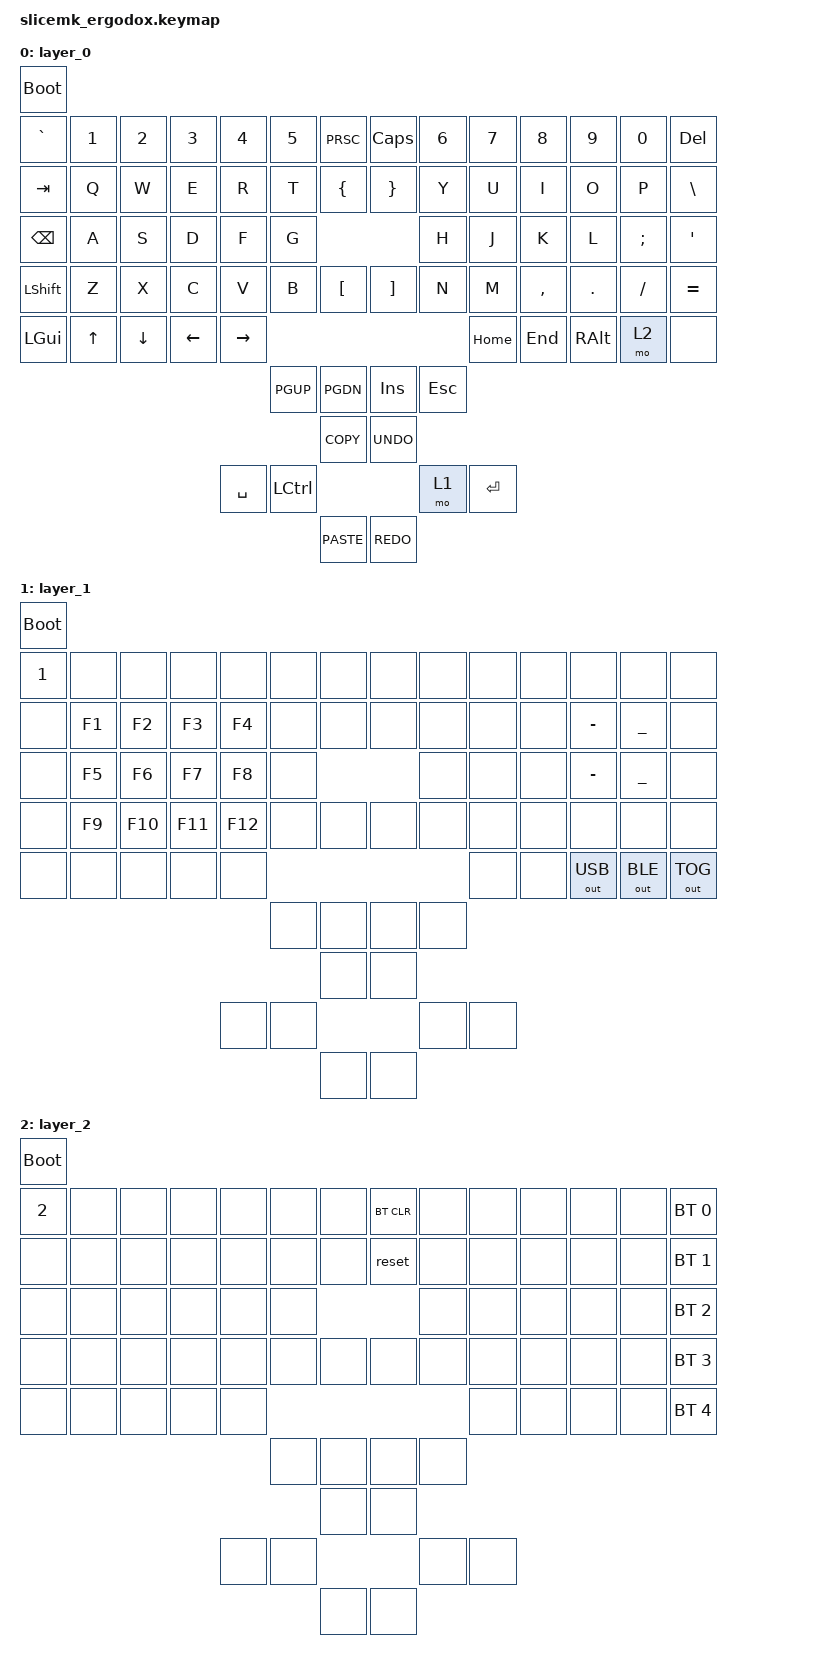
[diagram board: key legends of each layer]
#include <behaviors.dtsi>
#include <dt-bindings/zmk/bt.h>
#include <dt-bindings/zmk/keys.h>
#include <dt-bindings/zmk/outputs.h>

/ {
        keymap {
                compatible = "zmk,keymap";

                layer_0 {
                        bindings = <
    &bootloader
    &kp GRAVE  &kp N1     &kp N2     &kp N3     &kp N4     &kp N5     &kp PRSC   &kp CAPS   &kp N6     &kp N7     &kp N8     &kp N9     &kp N0     &kp DEL
    &kp TAB    &kp Q      &kp W      &kp E      &kp R      &kp T      &kp LBRC   &kp RBRC   &kp Y      &kp U      &kp I      &kp O      &kp P      &kp BSLH
    &kp BSPC   &kp A      &kp S      &kp D      &kp F      &kp G                            &kp H      &kp J      &kp K      &kp L      &kp SEMI   &kp SQT
    &kp LSHFT  &kp Z      &kp X      &kp C      &kp V      &kp B      &kp LBKT   &kp RBKT   &kp N      &kp M      &kp CMMA   &kp DOT    &kp FSLH   &kp EQUAL
    &kp LGUI   &kp UP     &kp DOWN   &kp LEFT   &kp RIGHT                                              &kp HOME   &kp END    &kp RALT   &mo 2      &none
                                                           &kp PGUP   &kp PGDN   &kp INS    &kp ESC
                                                                      &kp K_COPY &kp K_UNDO
                                                &kp SPC    &kp LCTL                         &mo 1      &kp RET
                                                                      &kp K_PASTE &kp K_REDO
                        >;
                };

                layer_1 {
                        bindings = <
    &bootloader
    &kp N1     &none      &none      &none     &none       &none      &none      &none      &none      &none      &none      &none      &none      &none
    &none      &kp F1     &kp F2     &kp F3     &kp F4     &none      &none      &none      &none      &none      &none      &kp MINUS  &kp UNDER  &none
    &none      &kp F5     &kp F6     &kp F7     &kp F8     &none                            &none      &none      &none      &kp MINUS  &kp UNDER  &none
    &none      &kp F9     &kp F10    &kp F11    &kp F12    &none      &none      &none      &none      &none      &none      &none      &none      &none
    &none      &none      &none      &none      &none                                                  &none      &none      &out OUT_USB  &out OUT_BLE   &out OUT_TOG
                                                           &none      &none      &none      &none
                                                                      &none      &none
                                                &none      &none                            &none      &none
                                                                      &none      &none
                        >;
                };

                layer_2 {
                        bindings = <
    &bootloader
    &kp N2     &none      &none      &none      &none      &none      &none      &bt BT_CLR &none      &none      &none      &none      &none      &bt BT_SEL 0
    &none      &none      &none      &none      &none      &none      &none      &reset     &none      &none      &none      &none      &none      &bt BT_SEL 1
    &none      &none      &none      &none      &none      &none                            &none      &none      &none      &none      &none      &bt BT_SEL 2
    &none      &none      &none      &none      &none      &none      &none      &none      &none      &none      &none      &none      &none      &bt BT_SEL 3
    &none      &none      &none      &none      &none                                                  &none      &none      &none      &none      &bt BT_SEL 4
                                                           &none      &none      &none      &none
                                                                      &none      &none
                                                &none      &none                            &none      &none
                                                                      &none      &none
                        >;
                };

        };
};
